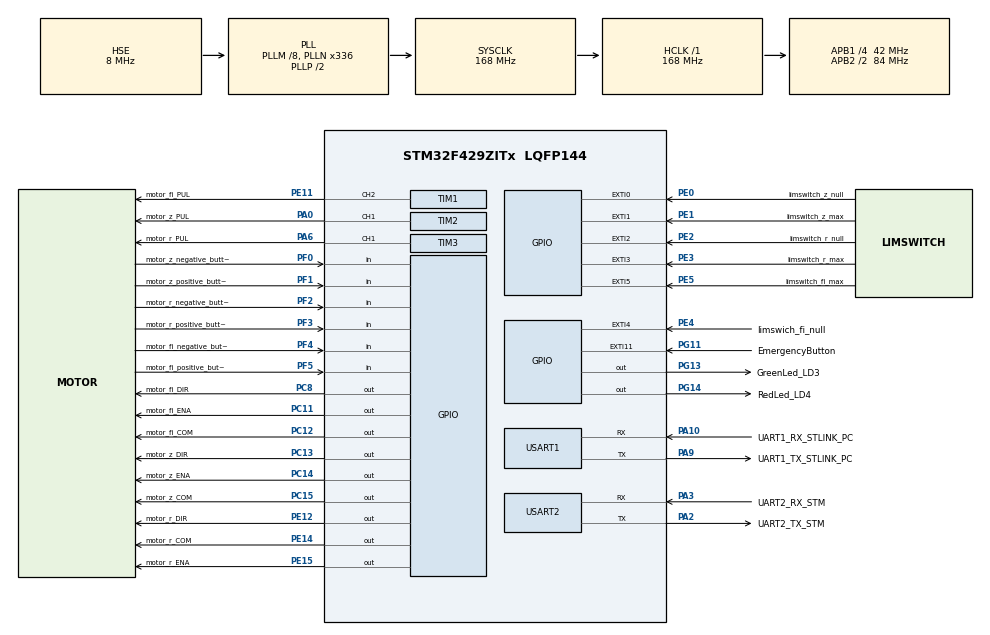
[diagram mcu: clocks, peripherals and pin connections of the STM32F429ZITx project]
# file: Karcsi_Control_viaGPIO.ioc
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FREERTOS.INCLUDE_vTaskDelayUntil=1
FREERTOS.Tasks01=indicator_blinking,3,256,fc_indicator_blinking,Default,(&error_byte),Dynamic,NULL,NULL;control_viaGPIOI,3,2048,fc_control_viaGPIO,Default,stepperMotors,Dynamic,NULL,NULL
FREERTOS.configCHECK_FOR_STACK_OVERFLOW=2
FREERTOS.configMAX_TASK_NAME_LEN=255
FREERTOS.configTOTAL_HEAP_SIZE=32768
FREERTOS.configUSE_APPLICATION_TASK_TAG=1
FREERTOS.configUSE_COUNTING_SEMAPHORES=1
FREERTOS.configUSE_IDLE_HOOK=1
FREERTOS.configUSE_MALLOC_FAILED_HOOK=1
FREERTOS.configUSE_RECURSIVE_MUTEXES=1
FREERTOS.configUSE_TIMERS=0
Mcu.Family=STM32F4
Mcu.Name=STM32F429ZITx
Mcu.Package=LQFP144
NVIC.EXTI0_IRQn=true\:5\:0\:false\:false\:true\:true\:true\:true\:true
NVIC.EXTI15_10_IRQn=true\:5\:0\:false\:false\:true\:true\:true\:true\:true
NVIC.EXTI1_IRQn=true\:5\:0\:false\:false\:true\:true\:true\:true\:true
NVIC.EXTI2_IRQn=true\:5\:0\:false\:false\:true\:true\:true\:true\:true
NVIC.EXTI3_IRQn=true\:5\:0\:false\:false\:true\:true\:true\:true\:true
NVIC.EXTI4_IRQn=true\:5\:0\:false\:false\:true\:true\:true\:true\:true
NVIC.EXTI9_5_IRQn=true\:5\:0\:false\:false\:true\:true\:true\:true\:true
NVIC.PriorityGroup=NVIC_PRIORITYGROUP_4
NVIC.TIM1_BRK_TIM9_IRQn=true\:5\:0\:false\:false\:true\:true\:true\:true\:true
NVIC.TIM1_CC_IRQn=true\:5\:0\:false\:false\:true\:true\:true\:true\:true
NVIC.TIM1_TRG_COM_TIM11_IRQn=true\:5\:0\:false\:false\:true\:true\:true\:true\:true
NVIC.TIM1_UP_TIM10_IRQn=true\:5\:0\:false\:false\:true\:true\:true\:true\:true
NVIC.TIM2_IRQn=true\:5\:0\:false\:false\:true\:true\:true\:true\:true
NVIC.TIM3_IRQn=true\:5\:0\:false\:false\:true\:true\:true\:true\:true
NVIC.TIM6_DAC_IRQn=true\:15\:0\:false\:false\:true\:false\:false\:true\:true
NVIC.TimeBase=TIM6_DAC_IRQn
NVIC.TimeBaseIP=TIM6
PA0/WKUP.GPIO_Label=motor_z_PUL
PA0/WKUP.Signal=S_TIM2_CH1_ETR
PA10.GPIO_Label=UART1_RX_STLINK_PC
PA10.Mode=Asynchronous
PA10.Signal=USART1_RX
PA2.GPIO_Label=UART2_TX_STM
PA2.GPIO_Speed=GPIO_SPEED_FREQ_VERY_HIGH
PA2.Mode=Multiprocessor_communication
PA2.Signal=USART2_TX
PA3.GPIO_Label=UART2_RX_STM
PA3.Mode=Multiprocessor_communication
PA3.Signal=USART2_RX
PA6.GPIO_Label=motor_r_PUL
PA6.Signal=S_TIM3_CH1
PA9.GPIO_Label=UART1_TX_STLINK_PC
PA9.Mode=Asynchronous
PA9.Signal=USART1_TX
PC11.GPIO_Label=motor_fi_ENA
PC11.Signal=GPIO_Output
PC12.GPIO_Label=motor_fi_COM
PC12.Signal=GPIO_Output
PC13.GPIO_Label=motor_z_DIR
PC13.Signal=GPIO_Output
PC14/OSC32_IN.GPIO_Label=motor_z_ENA
PC14/OSC32_IN.Signal=GPIO_Output
PC15/OSC32_OUT.GPIO_Label=motor_z_COM
PC15/OSC32_OUT.Signal=GPIO_Output
PC8.GPIO_Label=motor_fi_DIR
PC8.Signal=GPIO_Output
PE0.GPIO_Label=limswitch_z_null
PE0.GPIO_ModeDefaultEXTI=GPIO_MODE_IT_RISING_FALLING
PE0.GPIO_PuPd=GPIO_PULLDOWN
PE0.Signal=GPXTI0
PE1.GPIO_Label=limswitch_z_max
PE1.GPIO_ModeDefaultEXTI=GPIO_MODE_IT_RISING_FALLING
PE1.GPIO_PuPd=GPIO_PULLDOWN
PE1.Signal=GPXTI1
PE11.GPIO_Label=motor_fi_PUL
PE11.GPIO_Speed=GPIO_SPEED_FREQ_HIGH
PE11.Signal=S_TIM1_CH2
PE12.GPIO_Label=motor_r_DIR
PE12.Signal=GPIO_Output
PE14.GPIO_Label=motor_r_COM
PE14.Signal=GPIO_Output
PE15.GPIO_Label=motor_r_ENA
PE15.Signal=GPIO_Output
PE2.GPIO_Label=limswitch_r_null
PE2.GPIO_ModeDefaultEXTI=GPIO_MODE_IT_RISING_FALLING
PE2.GPIO_PuPd=GPIO_PULLDOWN
PE2.Signal=GPXTI2
PE3.GPIO_Label=limswitch_r_max
PE3.GPIO_ModeDefaultEXTI=GPIO_MODE_IT_RISING_FALLING
PE3.GPIO_PuPd=GPIO_PULLDOWN
PE3.Signal=GPXTI3
PE4.GPIO_Label=limswich_fi_null
PE4.GPIO_ModeDefaultEXTI=GPIO_MODE_IT_RISING_FALLING
PE4.GPIO_PuPd=GPIO_PULLDOWN
PE4.Signal=GPXTI4
PE5.GPIO_Label=limswitch_fi_max
PE5.GPIO_ModeDefaultEXTI=GPIO_MODE_IT_RISING_FALLING
PE5.GPIO_PuPd=GPIO_PULLDOWN
PE5.Signal=GPXTI5
PF0.GPIO_Label=motor_z_negative_button
PF0.GPIO_PuPd=GPIO_PULLDOWN
PF0.Signal=GPIO_Input
PF1.GPIO_Label=motor_z_positive_button
PF1.GPIO_PuPd=GPIO_PULLDOWN
PF1.Signal=GPIO_Input
PF2.GPIO_Label=motor_r_negative_button
PF2.GPIO_PuPd=GPIO_PULLDOWN
PF2.Signal=GPIO_Input
PF3.GPIO_Label=motor_r_positive_button
PF3.GPIO_PuPd=GPIO_PULLDOWN
PF3.Signal=GPIO_Input
PF4.GPIO_Label=motor_fi_negative_button
PF4.GPIO_PuPd=GPIO_PULLDOWN
PF4.Signal=GPIO_Input
PF5.GPIO_Label=motor_fi_positive_button
PF5.GPIO_PuPd=GPIO_PULLDOWN
PF5.Signal=GPIO_Input
PG11.GPIO_Label=EmergencyButton
PG11.GPIO_ModeDefaultEXTI=GPIO_MODE_IT_RISING_FALLING
PG11.Signal=GPXTI11
PG13.GPIO_Label=GreenLed_LD3
PG13.GPIO_Mode=GPIO_MODE_OUTPUT_PP
PG13.GPIO_PuPd=GPIO_PULLDOWN
PG13.GPIO_Speed=GPIO_SPEED_FREQ_LOW
PG13.Signal=GPIO_Output
PG14.GPIO_Label=RedLed_LD4
PG14.GPIO_Mode=GPIO_MODE_OUTPUT_PP
PG14.GPIO_PuPd=GPIO_PULLDOWN
PG14.GPIO_Speed=GPIO_SPEED_FREQ_LOW
PG14.Signal=GPIO_Output
PH0/OSC_IN.GPIO_Label=PH0-OSC_IN
PH0/OSC_IN.Mode=HSE-External-Oscillator
PH0/OSC_IN.Signal=RCC_OSC_IN
PH1/OSC_OUT.GPIO_Label=PH1-OSC_OUT
PH1/OSC_OUT.Mode=HSE-External-Oscillator
PH1/OSC_OUT.Signal=RCC_OSC_OUT
ProjectManager.HeapSize=0x200
ProjectManager.StackSize=0x400
ProjectManager.TargetToolchain=STM32CubeIDE
RCC.48MHZClocksFreq_Value=48000000
RCC.AHBFreq_Value=168000000
RCC.APB1CLKDivider=RCC_HCLK_DIV4
RCC.APB1Freq_Value=42000000
RCC.APB1TimFreq_Value=84000000
RCC.APB2CLKDivider=RCC_HCLK_DIV2
RCC.APB2Freq_Value=84000000
RCC.APB2TimFreq_Value=168000000
RCC.CortexFreq_Value=168000000
RCC.HCLKFreq_Value=168000000
RCC.HSE_VALUE=8000000
RCC.HSI_VALUE=16000000
RCC.LSE_VALUE=32768
RCC.PLLM=8
RCC.PLLN=336
RCC.PLLQ=7
RCC.PLLSAIN=50
RCC.PLLSourceVirtual=RCC_PLLSOURCE_HSE
RCC.SYSCLKFreq_VALUE=168000000
RCC.SYSCLKSource=RCC_SYSCLKSOURCE_PLLCLK
RCC.VCOOutputFreq_Value=336000000
SH.S_TIM1_CH2.0=TIM1_CH2,PWM Generation2 CH2
SH.S_TIM2_CH1_ETR.0=TIM2_CH1,PWM Generation1 CH1
SH.S_TIM3_CH1.0=TIM3_CH1,PWM Generation1 CH1
TIM1.Channel-PWM\ Generation2\ CH2=TIM_CHANNEL_2
TIM1.ClockDivision=TIM_CLOCKDIVISION_DIV1
TIM1.CounterMode=TIM_COUNTERMODE_UP
TIM1.OCMode_PWM-PWM\ Generation2\ CH2=TIM_OCMODE_PWM2
TIM1.Period=1000-1
TIM1.Prescaler=84-1
TIM1.Pulse-PWM\ Generation2\ CH2=499
TIM1.RepetitionCounter=0
TIM1.TIM_MasterOutputTrigger=TIM_TRGO_RESET
TIM2.Channel-PWM\ Generation1\ CH1=TIM_CHANNEL_1
TIM2.CounterMode=TIM_COUNTERMODE_UP
TIM2.OCMode_PWM-PWM\ Generation1\ CH1=TIM_OCMODE_PWM2
TIM2.Period=1000-1
TIM2.Prescaler=84-1
TIM2.Pulse-PWM\ Generation1\ CH1=499
TIM2.TIM_MasterOutputTrigger=TIM_TRGO_RESET
TIM3.Channel-PWM\ Generation1\ CH1=TIM_CHANNEL_1
TIM3.OCMode_PWM-PWM\ Generation1\ CH1=TIM_OCMODE_PWM2
TIM3.Period=1000-1
TIM3.Prescaler=168-1
TIM3.Pulse-PWM\ Generation1\ CH1=499
USART1.VirtualMode=VM_ASYNC
USART2.VirtualMode=VM_ASYNC
VP_FREERTOS_VS_CMSIS_V1.Mode=CMSIS_V1
VP_SYS_VS_tim6.Mode=TIM6
VP_TIM1_VS_ClockSourceINT.Mode=Internal
VP_TIM2_VS_ClockSourceINT.Mode=Internal
VP_TIM3_VS_ClockSourceINT.Mode=Internal
board=STM32F429I-DISC1

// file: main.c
/* USER CODE BEGIN Header */
/**
  ******************************************************************************
  * @file           : main.c
  * @brief          : Main program body
  ******************************************************************************
  * @attention
  *
  * Copyright (c) 2023 STMicroelectronics.
  * All rights reserved.
  *
  * This software is licensed under terms that can be found in the LICENSE file
  * in the root directory of this software component.
  * If no LICENSE file comes with this software, it is provided AS-IS.
  *
  ******************************************************************************
  */
/* USER CODE END Header */
#include "main.h"
#include "cmsis_os.h"

/* USER CODE BEGIN Includes */
#include "StepperMotorControll.h"
/* USER CODE END Includes */

/* USER CODE BEGIN PD */
//Defines for indexing limit_switches array
#define fi_max 1
#define fi_null 2
#define z_max 3
#define z_null 4
#define r_max 5
#define r_null 6
/* USER CODE END PD */

TIM_HandleTypeDef htim1;
TIM_HandleTypeDef htim2;
TIM_HandleTypeDef htim3;

UART_HandleTypeDef huart1;
UART_HandleTypeDef huart2;

osThreadId indicator_blinkingHandle;
osThreadId control_viaGPIOIHandle;
/* USER CODE BEGIN PV */

//Array that contains the motor structs, offers easy acccess to motor variables
static StepperMotor stepperMotors[NUMBER_OF_MOTORS];

/*
 * Pinstates of the limit switches
 * The @limit_switches array must contain 6 element:
 * limit_switches[0] : NOT IN USE
 * limit_switches[1] : FI axis' maximal positive excursion (rotated all the way clockwise)
 * limit_switches[2] : FI axis' zero point (when the arm is rotated all the way counter-clockwise)
 * limit_switches[3] : Z axis' maximal positiv excursion (upper sitch)
 * limit_switches[4] : Z axis' zero point (lower switch)
 * limit_switches[5] : R axis' maximal positive excursion (the arm reaches the furthest)
 * limit_switches[6] : R axis' zero ponit (when the arm is fully retracted)
 */
static GPIO_PinState limit_switches[7];

static ToolPosition current_position;

//Controlling Task output
static uint8_t error_byte = 0;

//It's true, if the homing has already run. Zero if homing is still needed.
static uint8_t homing_state = 0;

/* USER CODE END PV */

void SystemClock_Config(void);
static void MX_GPIO_Init(void);
static void MX_USART1_UART_Init(void);
static void MX_TIM1_Init(void);
static void MX_USART2_UART_Init(void);
static void MX_TIM2_Init(void);
static void MX_TIM3_Init(void);
void fc_indicator_blinking(void const * argument);
void fc_control_viaGPIO(void const * argument);

int main(void)
{

  /* MCU Configuration--------------------------------------------------------*/

  /* Reset of all peripherals, Initializes the Flash interface and the Systick. */
  HAL_Init();

  /* Configure the system clock */
  SystemClock_Config();

  /* Initialize all configured peripherals */
  MX_GPIO_Init();
  MX_USART1_UART_Init();
  MX_TIM1_Init();
  MX_USART2_UART_Init();
  MX_TIM2_Init();
  MX_TIM3_Init();

  /* Create the thread(s) */
  /* definition and creation of indicator_blinking */
  osThreadDef(indicator_blinking, fc_indicator_blinking, osPriorityRealtime, 0, 256);
  indicator_blinkingHandle = osThreadCreate(osThread(indicator_blinking), (void*) (&error_byte));

  /* definition and creation of control_viaGPIOI */
  osThreadDef(control_viaGPIOI, fc_control_viaGPIO, osPriorityRealtime, 0, 2048);
  control_viaGPIOIHandle = osThreadCreate(osThread(control_viaGPIOI), (void*) stepperMotors);

  /* Start scheduler */
  osKernelStart();

  /* We should never get here as control is now taken by the scheduler */
  /* Infinite loop */
  while (1)
  {

  }
}

void SystemClock_Config(void)
{
  RCC_OscInitTypeDef RCC_OscInitStruct = {0};
  RCC_ClkInitTypeDef RCC_ClkInitStruct = {0};

  /** Configure the main internal regulator output voltage
  */
  __HAL_RCC_PWR_CLK_ENABLE();
  __HAL_PWR_VOLTAGESCALING_CONFIG(PWR_REGULATOR_VOLTAGE_SCALE1);

  /** Initializes the RCC Oscillators according to the specified parameters
  * in the RCC_OscInitTypeDef structure.
  */
  RCC_OscInitStruct.OscillatorType = RCC_OSCILLATORTYPE_HSE;
  RCC_OscInitStruct.HSEState = RCC_HSE_ON;
  RCC_OscInitStruct.PLL.PLLState = RCC_PLL_ON;
  RCC_OscInitStruct.PLL.PLLSource = RCC_PLLSOURCE_HSE;
  RCC_OscInitStruct.PLL.PLLM = 8;
  RCC_OscInitStruct.PLL.PLLN = 336;
  RCC_OscInitStruct.PLL.PLLP = RCC_PLLP_DIV2;
  RCC_OscInitStruct.PLL.PLLQ = 7;
  if (HAL_RCC_OscConfig(&RCC_OscInitStruct) != HAL_OK)
  {
    Error_Handler();
  }

  /** Initializes the CPU, AHB and APB buses clocks
  */
  RCC_ClkInitStruct.ClockType = RCC_CLOCKTYPE_HCLK|RCC_CLOCKTYPE_SYSCLK
                              |RCC_CLOCKTYPE_PCLK1|RCC_CLOCKTYPE_PCLK2;
  RCC_ClkInitStruct.SYSCLKSource = RCC_SYSCLKSOURCE_PLLCLK;
  RCC_ClkInitStruct.AHBCLKDivider = RCC_SYSCLK_DIV1;
  RCC_ClkInitStruct.APB1CLKDivider = RCC_HCLK_DIV4;
  RCC_ClkInitStruct.APB2CLKDivider = RCC_HCLK_DIV2;

  if (HAL_RCC_ClockConfig(&RCC_ClkInitStruct, FLASH_LATENCY_5) != HAL_OK)
  {
    Error_Handler();
  }
}

static void MX_TIM1_Init(void)
{

  TIM_ClockConfigTypeDef sClockSourceConfig = {0};
  TIM_MasterConfigTypeDef sMasterConfig = {0};
  TIM_OC_InitTypeDef sConfigOC = {0};
  TIM_BreakDeadTimeConfigTypeDef sBreakDeadTimeConfig = {0};

  htim1.Instance = TIM1;
  htim1.Init.Prescaler = 84-1;
  htim1.Init.CounterMode = TIM_COUNTERMODE_UP;
  htim1.Init.Period = 1000-1;
  htim1.Init.ClockDivision = TIM_CLOCKDIVISION_DIV1;
  htim1.Init.RepetitionCounter = 0;
  htim1.Init.AutoReloadPreload = TIM_AUTORELOAD_PRELOAD_DISABLE;
  if (HAL_TIM_Base_Init(&htim1) != HAL_OK)
  {
    Error_Handler();
  }
  sClockSourceConfig.ClockSource = TIM_CLOCKSOURCE_INTERNAL;
  if (HAL_TIM_ConfigClockSource(&htim1, &sClockSourceConfig) != HAL_OK)
  {
    Error_Handler();
  }
  if (HAL_TIM_PWM_Init(&htim1) != HAL_OK)
  {
    Error_Handler();
  }
  sMasterConfig.MasterOutputTrigger = TIM_TRGO_RESET;
  sMasterConfig.MasterSlaveMode = TIM_MASTERSLAVEMODE_DISABLE;
  if (HAL_TIMEx_MasterConfigSynchronization(&htim1, &sMasterConfig) != HAL_OK)
  {
    Error_Handler();
  }
  sConfigOC.OCMode = TIM_OCMODE_PWM2;
  sConfigOC.Pulse = 499;
  sConfigOC.OCPolarity = TIM_OCPOLARITY_HIGH;
  sConfigOC.OCNPolarity = TIM_OCNPOLARITY_HIGH;
  sConfigOC.OCFastMode = TIM_OCFAST_DISABLE;
  sConfigOC.OCIdleState = TIM_OCIDLESTATE_RESET;
  sConfigOC.OCNIdleState = TIM_OCNIDLESTATE_RESET;
  if (HAL_TIM_PWM_ConfigChannel(&htim1, &sConfigOC, TIM_CHANNEL_2) != HAL_OK)
  {
    Error_Handler();
  }
  sBreakDeadTimeConfig.OffStateRunMode = TIM_OSSR_DISABLE;
  sBreakDeadTimeConfig.OffStateIDLEMode = TIM_OSSI_DISABLE;
  sBreakDeadTimeConfig.LockLevel = TIM_LOCKLEVEL_OFF;
  sBreakDeadTimeConfig.DeadTime = 0;
  sBreakDeadTimeConfig.BreakState = TIM_BREAK_DISABLE;
  sBreakDeadTimeConfig.BreakPolarity = TIM_BREAKPOLARITY_HIGH;
  sBreakDeadTimeConfig.AutomaticOutput = TIM_AUTOMATICOUTPUT_DISABLE;
  if (HAL_TIMEx_ConfigBreakDeadTime(&htim1, &sBreakDeadTimeConfig) != HAL_OK)
  {
    Error_Handler();
  }
  HAL_TIM_MspPostInit(&htim1);

}

static void MX_TIM2_Init(void)
{

  TIM_ClockConfigTypeDef sClockSourceConfig = {0};
  TIM_MasterConfigTypeDef sMasterConfig = {0};
  TIM_OC_InitTypeDef sConfigOC = {0};

  htim2.Instance = TIM2;
  htim2.Init.Prescaler = 84-1;
  htim2.Init.CounterMode = TIM_COUNTERMODE_UP;
  htim2.Init.Period = 1000-1;
  htim2.Init.ClockDivision = TIM_CLOCKDIVISION_DIV1;
  htim2.Init.AutoReloadPreload = TIM_AUTORELOAD_PRELOAD_DISABLE;
  if (HAL_TIM_Base_Init(&htim2) != HAL_OK)
  {
    Error_Handler();
  }
  sClockSourceConfig.ClockSource = TIM_CLOCKSOURCE_INTERNAL;
  if (HAL_TIM_ConfigClockSource(&htim2, &sClockSourceConfig) != HAL_OK)
  {
    Error_Handler();
  }
  if (HAL_TIM_PWM_Init(&htim2) != HAL_OK)
  {
    Error_Handler();
  }
  sMasterConfig.MasterOutputTrigger = TIM_TRGO_RESET;
  sMasterConfig.MasterSlaveMode = TIM_MASTERSLAVEMODE_DISABLE;
  if (HAL_TIMEx_MasterConfigSynchronization(&htim2, &sMasterConfig) != HAL_OK)
  {
    Error_Handler();
  }
  sConfigOC.OCMode = TIM_OCMODE_PWM2;
  sConfigOC.Pulse = 499;
  sConfigOC.OCPolarity = TIM_OCPOLARITY_HIGH;
  sConfigOC.OCFastMode = TIM_OCFAST_DISABLE;
  if (HAL_TIM_PWM_ConfigChannel(&htim2, &sConfigOC, TIM_CHANNEL_1) != HAL_OK)
  {
    Error_Handler();
  }
  HAL_TIM_MspPostInit(&htim2);

}

static void MX_TIM3_Init(void)
{

  TIM_ClockConfigTypeDef sClockSourceConfig = {0};
  TIM_MasterConfigTypeDef sMasterConfig = {0};
  TIM_OC_InitTypeDef sConfigOC = {0};

  htim3.Instance = TIM3;
  htim3.Init.Prescaler = 168-1;
  htim3.Init.CounterMode = TIM_COUNTERMODE_UP;
  htim3.Init.Period = 1000-1;
  htim3.Init.ClockDivision = TIM_CLOCKDIVISION_DIV1;
  htim3.Init.AutoReloadPreload = TIM_AUTORELOAD_PRELOAD_DISABLE;
  if (HAL_TIM_Base_Init(&htim3) != HAL_OK)
  {
    Error_Handler();
  }
  sClockSourceConfig.ClockSource = TIM_CLOCKSOURCE_INTERNAL;
  if (HAL_TIM_ConfigClockSource(&htim3, &sClockSourceConfig) != HAL_OK)
  {
    Error_Handler();
  }
  if (HAL_TIM_PWM_Init(&htim3) != HAL_OK)
  {
    Error_Handler();
  }
  sMasterConfig.MasterOutputTrigger = TIM_TRGO_RESET;
  sMasterConfig.MasterSlaveMode = TIM_MASTERSLAVEMODE_DISABLE;
  if (HAL_TIMEx_MasterConfigSynchronization(&htim3, &sMasterConfig) != HAL_OK)
  {
    Error_Handler();
  }
  sConfigOC.OCMode = TIM_OCMODE_PWM2;
  sConfigOC.Pulse = 499;
  sConfigOC.OCPolarity = TIM_OCPOLARITY_HIGH;
  sConfigOC.OCFastMode = TIM_OCFAST_DISABLE;
  if (HAL_TIM_PWM_ConfigChannel(&htim3, &sConfigOC, TIM_CHANNEL_1) != HAL_OK)
  {
    Error_Handler();
  }
  HAL_TIM_MspPostInit(&htim3);

}

static void MX_USART1_UART_Init(void)
{

  huart1.Instance = USART1;
  huart1.Init.BaudRate = 115200;
  huart1.Init.WordLength = UART_WORDLENGTH_8B;
  huart1.Init.StopBits = UART_STOPBITS_1;
  huart1.Init.Parity = UART_PARITY_NONE;
  huart1.Init.Mode = UART_MODE_TX_RX;
  huart1.Init.HwFlowCtl = UART_HWCONTROL_NONE;
  huart1.Init.OverSampling = UART_OVERSAMPLING_16;
  if (HAL_UART_Init(&huart1) != HAL_OK)
  {
    Error_Handler();
  }

}

static void MX_USART2_UART_Init(void)
{

  huart2.Instance = USART2;
  huart2.Init.BaudRate = 115200;
  huart2.Init.WordLength = UART_WORDLENGTH_8B;
  huart2.Init.StopBits = UART_STOPBITS_1;
  huart2.Init.Parity = UART_PARITY_NONE;
  huart2.Init.Mode = UART_MODE_TX_RX;
  huart2.Init.HwFlowCtl = UART_HWCONTROL_NONE;
  huart2.Init.OverSampling = UART_OVERSAMPLING_16;
  if (HAL_MultiProcessor_Init(&huart2, 0, UART_WAKEUPMETHOD_IDLELINE) != HAL_OK)
  {
    Error_Handler();
  }

}

static void MX_GPIO_Init(void)
{
  GPIO_InitTypeDef GPIO_InitStruct = {0};

  /* GPIO Ports Clock Enable */
  __HAL_RCC_GPIOE_CLK_ENABLE();
  __HAL_RCC_GPIOC_CLK_ENABLE();
  __HAL_RCC_GPIOF_CLK_ENABLE();
  __HAL_RCC_GPIOH_CLK_ENABLE();
  __HAL_RCC_GPIOA_CLK_ENABLE();
  __HAL_RCC_GPIOG_CLK_ENABLE();

  /*Configure GPIO pin Output Level */
  HAL_GPIO_WritePin(GPIOC, motor_z_DIR_Pin|motor_z_ENA_Pin|motor_z_COM_Pin|motor_fi_DIR_Pin
                          |motor_fi_ENA_Pin|motor_fi_COM_Pin, GPIO_PIN_RESET);

  /*Configure GPIO pin Output Level */
  HAL_GPIO_WritePin(GPIOE, motor_r_DIR_Pin|motor_r_COM_Pin|motor_r_ENA_Pin, GPIO_PIN_RESET);

  /*Configure GPIO pin Output Level */
  HAL_GPIO_WritePin(GPIOG, GreenLed_LD3_Pin|RedLed_LD4_Pin, GPIO_PIN_RESET);

  /*Configure GPIO pins : limswitch_r_null_Pin limswitch_r_max_Pin limswich_fi_null_Pin limswitch_fi_max_Pin
                           limswitch_z_null_Pin limswitch_z_max_Pin */
  GPIO_InitStruct.Pin = limswitch_r_null_Pin|limswitch_r_max_Pin|limswich_fi_null_Pin|limswitch_fi_max_Pin
                          |limswitch_z_null_Pin|limswitch_z_max_Pin;
  GPIO_InitStruct.Mode = GPIO_MODE_IT_RISING_FALLING;
  GPIO_InitStruct.Pull = GPIO_PULLDOWN;
  HAL_GPIO_Init(GPIOE, &GPIO_InitStruct);

  /*Configure GPIO pins : motor_z_DIR_Pin motor_z_ENA_Pin motor_z_COM_Pin motor_fi_DIR_Pin
                           motor_fi_ENA_Pin motor_fi_COM_Pin */
  GPIO_InitStruct.Pin = motor_z_DIR_Pin|motor_z_ENA_Pin|motor_z_COM_Pin|motor_fi_DIR_Pin
                          |motor_fi_ENA_Pin|motor_fi_COM_Pin;
  GPIO_InitStruct.Mode = GPIO_MODE_OUTPUT_PP;
  GPIO_InitStruct.Pull = GPIO_NOPULL;
  GPIO_InitStruct.Speed = GPIO_SPEED_FREQ_LOW;
  HAL_GPIO_Init(GPIOC, &GPIO_InitStruct);

  /*Configure GPIO pins : motor_z_negative_button_Pin motor_z_positive_button_Pin motor_r_negative_button_Pin motor_r_positive_button_Pin
                           motor_fi_negative_button_Pin motor_fi_positive_button_Pin */
  GPIO_InitStruct.Pin = motor_z_negative_button_Pin|motor_z_positive_button_Pin|motor_r_negative_button_Pin|motor_r_positive_button_Pin
                          |motor_fi_negative_button_Pin|motor_fi_positive_button_Pin;
  GPIO_InitStruct.Mode = GPIO_MODE_INPUT;
  GPIO_InitStruct.Pull = GPIO_PULLDOWN;
  HAL_GPIO_Init(GPIOF, &GPIO_InitStruct);

  /*Configure GPIO pins : motor_r_DIR_Pin motor_r_COM_Pin motor_r_ENA_Pin */
  GPIO_InitStruct.Pin = motor_r_DIR_Pin|motor_r_COM_Pin|motor_r_ENA_Pin;
  GPIO_InitStruct.Mode = GPIO_MODE_OUTPUT_PP;
  GPIO_InitStruct.Pull = GPIO_NOPULL;
  GPIO_InitStruct.Speed = GPIO_SPEED_FREQ_LOW;
  HAL_GPIO_Init(GPIOE, &GPIO_InitStruct);

  /*Configure GPIO pin : EmergencyButton_Pin */
  GPIO_InitStruct.Pin = EmergencyButton_Pin;
  GPIO_InitStruct.Mode = GPIO_MODE_IT_RISING_FALLING;
  GPIO_InitStruct.Pull = GPIO_NOPULL;
  HAL_GPIO_Init(EmergencyButton_GPIO_Port, &GPIO_InitStruct);

  /*Configure GPIO pins : GreenLed_LD3_Pin RedLed_LD4_Pin */
  GPIO_InitStruct.Pin = GreenLed_LD3_Pin|RedLed_LD4_Pin;
  GPIO_InitStruct.Mode = GPIO_MODE_OUTPUT_PP;
  GPIO_InitStruct.Pull = GPIO_PULLDOWN;
  GPIO_InitStruct.Speed = GPIO_SPEED_FREQ_LOW;
  HAL_GPIO_Init(GPIOG, &GPIO_InitStruct);

  /* EXTI interrupt init*/
  HAL_NVIC_SetPriority(EXTI0_IRQn, 5, 0);
  HAL_NVIC_EnableIRQ(EXTI0_IRQn);

  HAL_NVIC_SetPriority(EXTI1_IRQn, 5, 0);
  HAL_NVIC_EnableIRQ(EXTI1_IRQn);

  HAL_NVIC_SetPriority(EXTI2_IRQn, 5, 0);
  HAL_NVIC_EnableIRQ(EXTI2_IRQn);

  HAL_NVIC_SetPriority(EXTI3_IRQn, 5, 0);
  HAL_NVIC_EnableIRQ(EXTI3_IRQn);

  HAL_NVIC_SetPriority(EXTI4_IRQn, 5, 0);
  HAL_NVIC_EnableIRQ(EXTI4_IRQn);

  HAL_NVIC_SetPriority(EXTI9_5_IRQn, 5, 0);
  HAL_NVIC_EnableIRQ(EXTI9_5_IRQn);

  HAL_NVIC_SetPriority(EXTI15_10_IRQn, 5, 0);
  HAL_NVIC_EnableIRQ(EXTI15_10_IRQn);

}

/* USER CODE BEGIN 4 */
/*
 * In case of EXTI, one of the limit switches turn on. To prevent further movement, the axis' motor turns off
 * and @variable current_position is updated.
 */
void HAL_GPIO_EXTI_Callback(uint16_t GPIO_Pin){
	switch (GPIO_Pin){
		case limswitch_z_null_Pin:{
			limit_switches[z_null] = HAL_GPIO_ReadPin(limswitch_z_null_GPIO_Port, limswitch_z_null_Pin);
			if(limit_switches[z_null]){
				current_position.z = 0;
				stepperMotors[MOTOR_Z_ID].allowedDir = MOTORALLOW_POSDIR;
			}
			else{
				stepperMotors[MOTOR_Z_ID].allowedDir = MOTORALLOW_BOTHDIR;
			}
			break;
		}
		case limswitch_z_max_Pin:{
			limit_switches[z_max] = HAL_GPIO_ReadPin(limswitch_z_max_GPIO_Port, limswitch_z_max_Pin);
			if(limit_switches[z_max]){
				current_position.z = MOTOR_Z_MAXPOS;
				stepperMotors[MOTOR_Z_ID].allowedDir = MOTORALLOW_NEGDIR;
			}
			else{
				stepperMotors[MOTOR_Z_ID].allowedDir = MOTORALLOW_BOTHDIR;
			}
			break;
		}
		case limswitch_r_null_Pin:{
			limit_switches[r_null] = HAL_GPIO_ReadPin(limswitch_r_null_GPIO_Port, limswitch_r_null_Pin);
			if(limit_switches[r_null]){
				current_position.r = 0;
				stepperMotors[MOTOR_R_ID].allowedDir = MOTORALLOW_POSDIR;
			}
			else{
				stepperMotors[MOTOR_R_ID].allowedDir = MOTORALLOW_BOTHDIR;
			}
			break;
		}
		case limswitch_r_max_Pin:{
			limit_switches[r_max] = HAL_GPIO_ReadPin(limswitch_r_max_GPIO_Port, limswitch_r_max_Pin);
			if(limit_switches[r_max]){
				current_position.r = MOTOR_R_MAXPOS;
				stepperMotors[MOTOR_R_ID].allowedDir = MOTORALLOW_NEGDIR;
			}
			else{
				stepperMotors[MOTOR_R_ID].allowedDir = MOTORALLOW_BOTHDIR;
			}
			break;
		}
		case limswich_fi_null_Pin:{
			limit_switches[fi_null] = HAL_GPIO_ReadPin(limswich_fi_null_GPIO_Port, limswich_fi_null_Pin);
			if(limit_switches[fi_null]){
				current_position.fi = 0;
				stepperMotors[MOTOR_FI_ID].allowedDir = MOTORALLOW_POSDIR;
			}
			else{
				stepperMotors[MOTOR_FI_ID].allowedDir = MOTORALLOW_BOTHDIR;
			}
			break;
		}
		case limswitch_fi_max_Pin:{
			limit_switches[fi_max] = HAL_GPIO_ReadPin(limswitch_fi_max_GPIO_Port, limswitch_fi_max_Pin);
			if(limit_switches[fi_max]){
				current_position.fi = MOTOR_FI_MAXPOS;
				stepperMotors[MOTOR_FI_ID].allowedDir = MOTORALLOW_NEGDIR;
			}
			else{
				stepperMotors[MOTOR_FI_ID].allowedDir = MOTORALLOW_BOTHDIR;
			}
			break;
		}
	}
}

void HAL_TIM_PWM_PulseFinishedCallback(TIM_HandleTypeDef *htim){
	if(htim->Instance == TIM1) {
		if(MOTORDIR_NEGATIVE == stepperMotors[MOTOR_FI_ID].dir){
		  current_position.fi--;
		}
		else if(MOTORDIR_POSITIVE == stepperMotors[MOTOR_FI_ID].dir){
		  current_position.fi++;
		}
	}
	if(htim->Instance == TIM2) {
		if(MOTORDIR_NEGATIVE == stepperMotors[MOTOR_Z_ID].dir){
		  current_position.z--;
		}
		else if(MOTORDIR_POSITIVE == stepperMotors[MOTOR_Z_ID].dir){
		  current_position.z++;
		}
	}
	if(htim->Instance == TIM3) {
		if(MOTORDIR_NEGATIVE == stepperMotors[MOTOR_R_ID].dir){
		  current_position.r--;
		}
		else if(MOTORDIR_POSITIVE == stepperMotors[MOTOR_R_ID].dir){
		  current_position.r++;
		}
	}
}
/* USER CODE END 4 */

/* USER CODE BEGIN Header_fc_indicator_blinking */
/**
  * @brief  Function implementing the indicator_blinking thread.
  * @param  argument: Not used
  * @retval None
  *
  * This task is only used for debugging.
  * If any of the functions returns with error, the red LED on the board starts blinking.
  * If everything is OK, then a green LED blinks.
  */
/* USER CODE END Header_fc_indicator_blinking */
void fc_indicator_blinking(void const * argument)
{
  /* USER CODE BEGIN 5 */
  /* Infinite loop */
  for(;;)
  {
	  if(error_byte){
		  HAL_GPIO_WritePin(RedLed_LD4_GPIO_Port, RedLed_LD4_Pin, 1);
		  osDelay(200);
		  HAL_GPIO_WritePin(RedLed_LD4_GPIO_Port, RedLed_LD4_Pin, 0);
		  osDelay(200);
	  }
	  else{
		  HAL_GPIO_WritePin(GreenLed_LD3_GPIO_Port, GreenLed_LD3_Pin, 1);
		  osDelay(1000);
		  HAL_GPIO_WritePin(GreenLed_LD3_GPIO_Port, GreenLed_LD3_Pin, 0);
		  osDelay(1000);
	  }
  }
  /* USER CODE END 5 */
}

/* USER CODE BEGIN Header_fc_control_viaGPIO */
/**
* @brief Function implementing the control_viaGPIOI thread.
* @param argument: Pointer to the array of the stepper motors
* @retval None
*
* This task has made for 2023 Simonyi Conference.
* It implements a thread wich allows users to controll the arm via a controller.
* The controller has 6 black buttons, each axis can be manipulated with two of them.
* Note that pushing both of the buttons of an axis at the same time, isn't a problem, because the task suspends the motor.
* Beside the software restrictions, there are 6 limit switches fixed on the arm. Each one generates a GPIO IT,
* if it gets switched on. Tte interrupt handler stops the appropriate motor and won't allow the user to
* move the arm beyond its limitations.
*/
/* USER CODE END Header_fc_control_viaGPIO */
void fc_control_viaGPIO(void const * argument)
{
  /* USER CODE BEGIN fc_control_viaGPIO */

	//LIMIT SWITCH INIT --------------------------------------------------------------//
	limit_switches[1] = HAL_GPIO_ReadPin(limswitch_fi_max_GPIO_Port, limswitch_fi_max_Pin);
	limit_switches[2] = HAL_GPIO_ReadPin(limswich_fi_null_GPIO_Port, limswich_fi_null_Pin);
	limit_switches[3] = HAL_GPIO_ReadPin(limswitch_z_max_GPIO_Port, limswitch_z_max_Pin);
	limit_switches[4] = HAL_GPIO_ReadPin(limswitch_z_null_GPIO_Port, limswitch_z_null_Pin);
	limit_switches[5] = HAL_GPIO_ReadPin(limswitch_r_max_GPIO_Port, limswitch_r_max_Pin);
	limit_switches[6] = HAL_GPIO_ReadPin(limswitch_r_null_GPIO_Port, limswitch_r_null_Pin);

	//MOTOR INIT ------------------------------------------------------------------//
	StepperMotor* stepperMotors = (StepperMotor*)argument;
	stepperMotors[MOTOR_FI_ID] = (StepperMotor) {
			.ID = MOTOR_FI_ID,
			.allowedDir = MOTORALLOW_BOTHDIR,
			.motorState = MOTORSTATE_STOPPED,

			.TIM_CH = TIM_CHANNEL_2,	//PE11
			.TIM = &htim1,

			.enablePORT = motor_fi_ENA_GPIO_Port,  //PC11
			.enablePIN = motor_fi_ENA_Pin,

			.dirPORT = motor_fi_DIR_GPIO_Port,	//PC8
			.dirPIN = motor_fi_DIR_Pin,
	};
	stepperMotors[MOTOR_Z_ID] = (StepperMotor) {
			.ID = MOTOR_Z_ID,
			.allowedDir = MOTORALLOW_BOTHDIR,
			.motorState = MOTORSTATE_STOPPED,

			.TIM_CH = TIM_CHANNEL_1,	//PA0
			.TIM = &htim2,

			.enablePORT = motor_z_ENA_GPIO_Port,	//PC14
			.enablePIN = motor_z_ENA_Pin,

			.dirPORT = motor_z_DIR_GPIO_Port,	//PC13
			.dirPIN = motor_z_DIR_Pin,
	};
	stepperMotors[MOTOR_R_ID] = (StepperMotor) {
			.ID = MOTOR_R_ID,
			.allowedDir = MOTORALLOW_BOTHDIR,
			.motorState = MOTORSTATE_STOPPED,

			.TIM_CH = TIM_CHANNEL_1,	//PA6
			.TIM = &htim3,

			.enablePORT = motor_r_ENA_GPIO_Port,  //PE15
			.enablePIN = motor_r_ENA_Pin,

			.dirPORT = motor_r_DIR_GPIO_Port,		//PE12
			.dirPIN = motor_r_DIR_Pin,
	};

	//Set the COM pins to GND
	HAL_GPIO_WritePin(motor_fi_COM_GPIO_Port, motor_fi_COM_Pin, 0);
	HAL_GPIO_WritePin(motor_r_COM_GPIO_Port, motor_r_COM_Pin , 0);
	HAL_GPIO_WritePin(motor_z_COM_GPIO_Port, motor_z_COM_Pin, 0);

	//Enable all motor
	HAL_GPIO_WritePin(stepperMotors[MOTOR_R_ID].enablePORT,stepperMotors[MOTOR_R_ID].enablePIN , 1);	//enable = HIGH
	HAL_GPIO_WritePin(stepperMotors[MOTOR_Z_ID].enablePORT,stepperMotors[MOTOR_Z_ID].enablePIN , 1);	// enable = HIGH
	HAL_GPIO_WritePin(stepperMotors[MOTOR_FI_ID].enablePORT,stepperMotors[MOTOR_FI_ID].enablePIN , 0);  // enable = GND

	//HOMING ----------------------------------------------------------------------------//
	if(!homing_state){
		error_byte = startAllMotor(stepperMotors, MOTORDIR_NEGATIVE);
		//Only run if the arm is not homed
		if(!error_byte){
			//waiting untill all of the motors has reached their limit
			while((GPIO_PIN_SET != limit_switches[fi_null]) || (GPIO_PIN_SET != limit_switches[z_null]) || (GPIO_PIN_SET != limit_switches[r_null])){

				//FI axis check
				if(GPIO_PIN_SET == limit_switches[fi_null]){
					stopMotor(stepperMotors, MOTOR_FI_ID);
				}

				//Z axis check
				if(GPIO_PIN_SET == limit_switches[z_null]){
					stopMotor(stepperMotors, MOTOR_Z_ID);
				}

				//R axis check
				if(GPIO_PIN_SET == limit_switches[r_null]){
					stopMotor(stepperMotors, MOTOR_R_ID);
				}
			}
			homing_state = 1;
		}
		else {
			//if there is a problem about the motors, dont do nothing stupid
			for(;;){}
		}
	}

	//START CONTROL TASK -----------------------------------------------------------------------//
	/* Infinite contol loop */
	for(;;)
	{
		//R axis
		controlMotor_viaGPIO(
			limit_switches,
			motor_r_positive_button_GPIO_Port, motor_r_positive_button_Pin,
			motor_r_negative_button_GPIO_Port, motor_r_negative_button_Pin,
			stepperMotors, MOTOR_R_ID
		);

		//FI axis
		controlMotor_viaGPIO(
			limit_switches,
			motor_fi_positive_button_GPIO_Port, motor_fi_positive_button_Pin,
			motor_fi_negative_button_GPIO_Port, motor_fi_negative_button_Pin,
			stepperMotors, MOTOR_FI_ID
		);

		//Z axis
		controlMotor_viaGPIO(
			limit_switches,
			motor_z_positive_button_GPIO_Port, motor_z_positive_button_Pin,
			motor_z_negative_button_GPIO_Port, motor_z_negative_button_Pin,
			stepperMotors, MOTOR_Z_ID
		);
	}
  /* USER CODE END fc_control_viaGPIO */
}

void HAL_TIM_PeriodElapsedCallback(TIM_HandleTypeDef *htim)
{
  if (htim->Instance == TIM6) {
    HAL_IncTick();
  }
}

void Error_Handler(void)
{
  __disable_irq();
  while (1)
  {
  }
}
